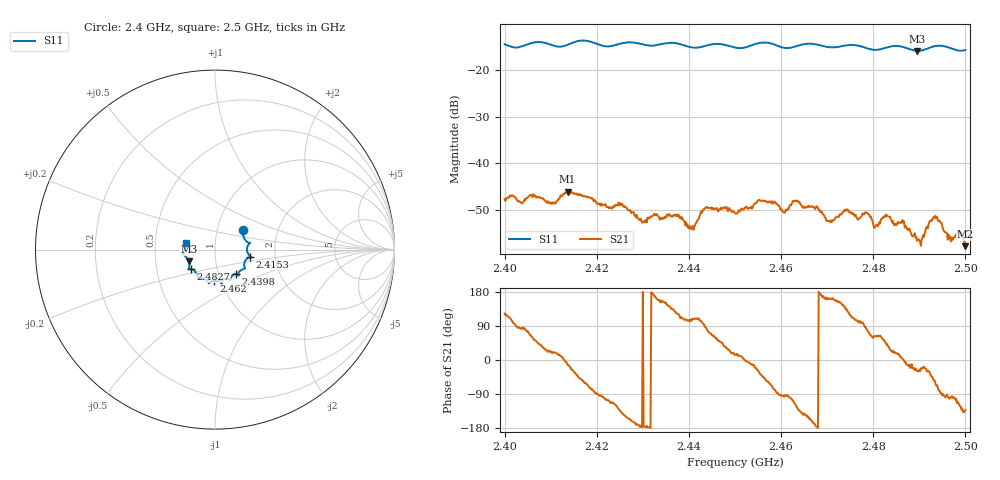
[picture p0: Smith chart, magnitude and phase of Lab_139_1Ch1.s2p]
# Hz S RI R 50
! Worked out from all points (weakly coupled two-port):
!   601 points, 2.4 GHz to 2.5 GHz, reference 50 ohm
!   highest |S21| = -46.07 dB at 2.4137 GHz (marker M1); lowest = -57.7 dB at 2.5 GHz (marker M2)
!   lowest |S11| = -15.9 dB at 2.4895 GHz (marker M3), VSWR 1.38, Z = 37 - j5.01 ohm
!   |S11| at or under -10 dB: start of sweep to end of sweep
!   S12 and S22 are empty: the file has one direction only
!   S11 on the Smith chart (normalised r, x): 2.4 GHz: 1.33, +0.30; 2.4153 GHz: 1.48, -0.12; 2.4398 GHz: 1.21, -0.34; 2.462 GHz: 0.93, -0.33; 2.4827 GHz: 0.75, -0.17; 2.5 GHz: 0.72, +0.06
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2.4e9  0.1553 0.1073  -0.00223 0.00349  0 0  0 0
2.4105e9  0.1823 0.0211  0.00349 0.00128  0 0  0 0
2.413667e9  0.1847 -0.0235  0.00485 -0.0011  0 0  0 0
2.415333e9  0.1967 -0.0389  0.00386 -0.00278  0 0  0 0
2.416667e9  0.2025 -0.0431  0.00282 -0.00351  0 0  0 0
2.430333e9  0.1495 -0.1119  -0.00239 -0.000166  0 0  0 0
2.433333e9  0.1298 -0.1341  -0.00252 0.000991  0 0  0 0
2.439833e9  0.1152 -0.1358  -0.000455 0.00199  0 0  0 0
2.443667e9  0.0861 -0.1606  0.000279 0.00339  0 0  0 0
2.45e9  0.0645 -0.1621  0.00284 0.000705  0 0  0 0
2.455333e9  0.0367 -0.1915  0.00335 -0.0023  0 0  0 0
2.462e9  -0.00521 -0.1732  -0.000589 -0.00355  0 0  0 0
2.466667e9  -0.0346 -0.1882  -0.00327 -0.0012  0 0  0 0
2.4705e9  -0.0531 -0.1675  -0.00231 0.00074  0 0  0 0
2.474e9  -0.0888 -0.1604  -0.00213 0.00223  0 0  0 0
2.478667e9  -0.1019 -0.1371  0.000488 0.00292  0 0  0 0
2.4805e9  -0.1142 -0.1182  0.000956 0.00192  0 0  0 0
2.482667e9  -0.1351 -0.1085  0.00184 0.00194  0 0  0 0
2.483333e9  -0.1402 -0.1082  0.0022 0.00155  0 0  0 0
2.4895e9  -0.1462 -0.066  0.0013 -0.00071  0 0  0 0
2.493333e9  -0.1786 -0.0248  0.00153 -0.00209  0 0  0 0
2.5e9  -0.1589 0.0391  -0.000864 -0.000968  0 0  0 0
